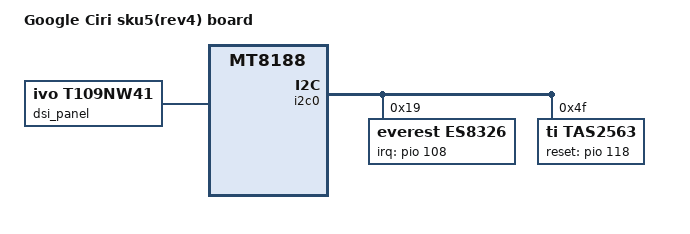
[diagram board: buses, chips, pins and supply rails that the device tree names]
// SPDX-License-Identifier: (GPL-2.0 OR MIT)
/*
 * Copyright 2024 Google LLC
 */
/dts-v1/;
#include "mt8188-geralt-ciri.dtsi"
#include "mt8188-ciri-camera-v4l2.dtsi"

/delete-node/ &rt5682s;
/delete-node/ &max98390_38;
/delete-node/ &max98390_39;

/ {
	model = "Google Ciri sku5(rev4) board";
	compatible = "google,ciri-sku5", "google,ciri", "mediatek,mt8188";
};

&dsi_panel {
	compatible = "ivo,t109nw41";
};

&touchscreen {
	himax,pid = <0x1003>;
	firmware-name = "himax_i2chid_1003.bin";
};

&i2c0 {
	es8326: es8326@19 {
		#sound-dai-cells = <0>;
		compatible = "everest,es8326";
		reg = <0x19>;
		interrupt-parent = <&pio>;
		interrupts = <108 IRQ_TYPE_LEVEL_LOW>;
		pinctrl-names = "default";
		pinctrl-0 = <&hp_int>;
		everest,jack-pol = [0e];
		everest,interrupt-clk = [00];
		status = "okay";
	};

	tas2563: tas2563@4f {
		#sound-dai-cells = <0>;
		compatible = "ti,tas2563";
		reg = <0x4f>, /* left-channel */
			  <0x4c>; /* right-channel */
		reset-gpios = <&pio 118 GPIO_ACTIVE_HIGH>;
		status = "okay";
     };
};

&sound {
	compatible = "mediatek,mt8188-es8326";
	model = "mt8188_tas2563_8326";

	audio-routing =
		"ETDM1_OUT", "ETDM_SPK_PIN",
		"ETDM2_OUT", "ETDM_HP_PIN",
		"ETDM1_IN", "ETDM_SPK_PIN",
		"ETDM2_IN", "ETDM_HP_PIN",
		"ADDA Capture", "MTKAIF_PIN",
		"Headphone Jack", "HPOL",
		"Headphone Jack", "HPOR",
		"MIC1", "Headset Mic";
	status = "okay";

	dai-link-0 {
		link-name = "ETDM2_OUT_BE";
		mediatek,clk-provider = "cpu";
		codec {
			sound-dai = <&es8326>;
		};
	};

	dai-link-1 {
		link-name = "ETDM2_IN_BE";
		mediatek,clk-provider = "cpu";
		codec {
			sound-dai = <&es8326>;
		};
	};

	dai-link-2 {
		link-name = "ETDM1_OUT_BE";
		dai-format = "i2s";
		mediatek,clk-provider = "cpu";
		codec {
			sound-dai = <&tas2563>;
		};
	};
};
